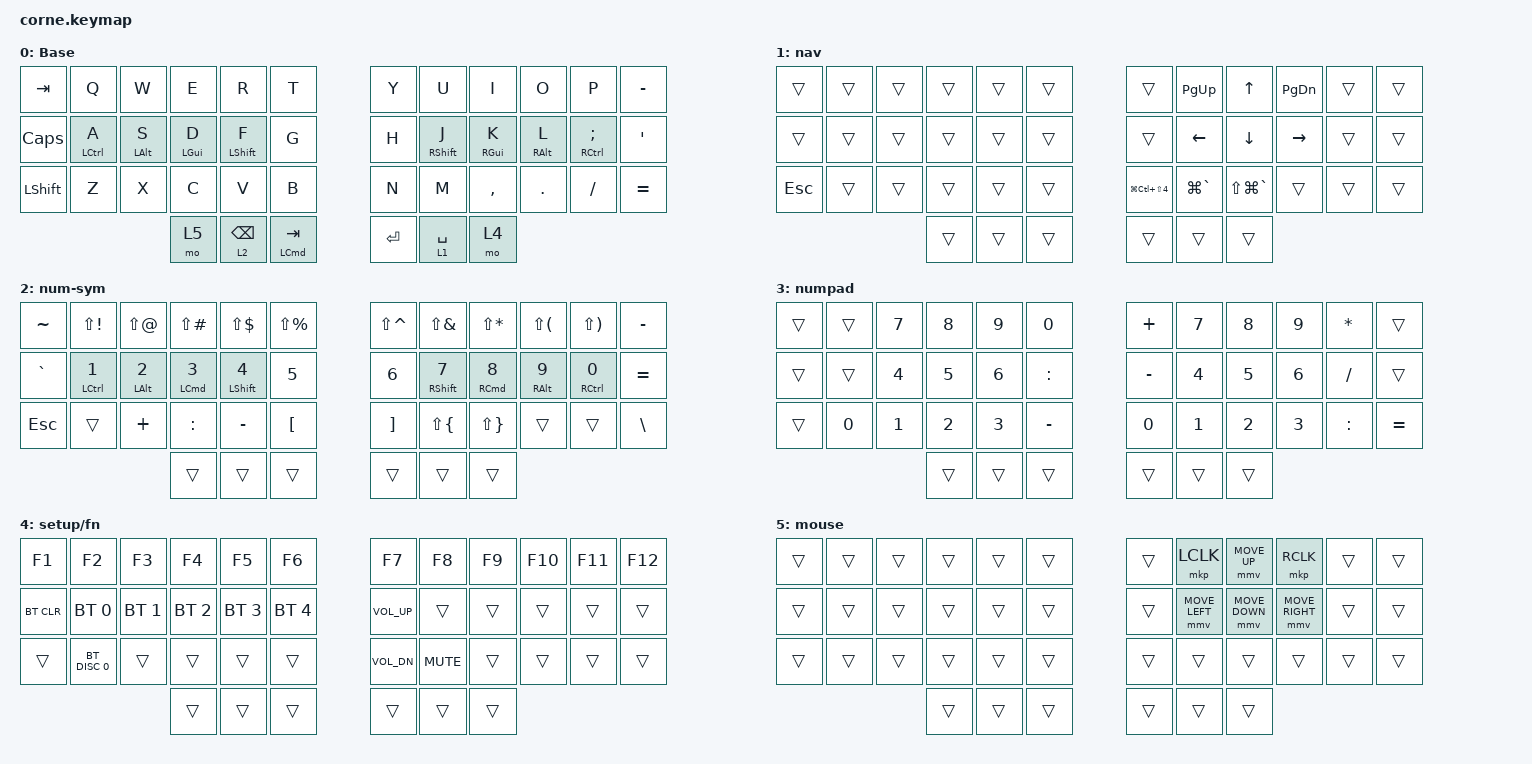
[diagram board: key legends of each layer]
/*
 * Copyright (c) 2020 The ZMK Contributors
 *
 * SPDX-License-Identifier: MIT
 */

#include <behaviors.dtsi>
#include <dt-bindings/zmk/bt.h>
#include <dt-bindings/zmk/keys.h>
#include <dt-bindings/zmk/pointing.h>

/ {
    behaviors {
        HRR250: HRR250 {
            compatible = "zmk,behavior-hold-tap";
            label = "HRR250";
            bindings = <&kp>, <&kp>;

            #binding-cells = <2>;
            tapping-term-ms = <250>;
            quick-tap-ms = <175>;
            flavor = "balanced";
            hold-trigger-key-positions = <0 1 2 3 4 5 12 13 14 15 16 17 24 25 26 27 28 29 36 37 38 39 40 41>;
            hold-trigger-on-release;
        };

        HRL250: HRL250 {
            compatible = "zmk,behavior-hold-tap";
            label = "HRL250";
            bindings = <&kp>, <&kp>;

            #binding-cells = <2>;
            tapping-term-ms = <250>;
            quick-tap-ms = <175>;
            flavor = "balanced";
            hold-trigger-on-release;
            hold-trigger-key-positions = <6 7 8 9 10 11 18 19 20 21 22 23 30 31 32 33 34 35 39 40 41 36 37 38>;
        };

        HRR100: HRR100 {
            compatible = "zmk,behavior-hold-tap";
            label = "HRR100";
            bindings = <&kp>, <&kp>;

            #binding-cells = <2>;
            tapping-term-ms = <100>;
            quick-tap-ms = <50>;
            flavor = "tap-preferred";
            hold-trigger-key-positions = <0 1 2 3 4 5 12 13 14 15 16 17 24 25 26 27 28 29 36 37 38 39 40 41>;
            hold-trigger-on-release;
        };

        HRL100: HRL100 {
            compatible = "zmk,behavior-hold-tap";
            label = "HRL100";
            bindings = <&kp>, <&kp>;

            #binding-cells = <2>;
            tapping-term-ms = <100>;
            quick-tap-ms = <50>;
            flavor = "balanced";
            hold-trigger-on-release;
            hold-trigger-key-positions = <6 7 8 9 10 11 18 19 20 21 22 23 30 31 32 33 34 35 39 40 41 36 37 38>;
        };

        hrr150: hrr150 {
            compatible = "zmk,behavior-hold-tap";
            label = "HRR150";
            bindings = <&kp>, <&kp>;

            #binding-cells = <2>;
            tapping-term-ms = <150>;
            quick-tap-ms = <98>;
            flavor = "balanced";
            hold-trigger-key-positions = <0 1 2 3 4 5 12 13 14 15 16 17 24 25 26 27 28 29 36 37 38 39 40 41>;
            hold-trigger-on-release;
        };

        HRL150: HRL150 {
            compatible = "zmk,behavior-hold-tap";
            label = "HRL150";
            bindings = <&kp>, <&kp>;

            #binding-cells = <2>;
            tapping-term-ms = <150>;
            quick-tap-ms = <100>;
            flavor = "balanced";
            hold-trigger-on-release;
            hold-trigger-key-positions = <6 7 8 9 10 11 18 19 20 21 22 23 30 31 32 33 34 35 39 40 41 36 37 38>;
        };

        lt150: lt150 {
            compatible = "zmk,behavior-hold-tap";
            label = "LT150";
            bindings = <&mo>, <&kp>;

            #binding-cells = <2>;
            tapping-term-ms = <150>;
            quick-tap-ms = <100>;
            flavor = "balanced";
            hold-trigger-on-release;
            hold-trigger-key-positions = <6 7 8 9 10 11 18 19 20 21 22 23 30 31 32 33 34 35 39 40 41 36 37 38>;
        };
    };

    macros {
        perplexity_vc_search: perplexity_vc_search {
            compatible = "zmk,behavior-macro";
            #binding-cells = <0>;
            bindings = <&none &kp W &kp O &kp U &kp L &kp D &kp SPACE &kp LS(X) &kp LS(X) &kp LS(X) &kp SPACE &kp B &kp E &kp SPACE &kp A &kp SPACE &kp G &kp O &kp O &kp D &kp SPACE &kp F &kp I &kp T &kp SPACE &kp G &kp I &kp V &kp E &kp N &kp SPACE &kp T &kp H &kp E &kp SPACE &kp I &kp N &kp V &kp E &kp S &kp T &kp O &kp R &kp SPACE &kp S &kp E &kp A &kp R &kp C &kp H &kp SPACE &kp C &kp R &kp I &kp T &kp E &kp R &kp I &kp A>;
            label = "PERPLEXITY_VC_SEARCH";
        };
    };

    combos {
        compatible = "zmk,combos";

        combo_lockscreen {
            bindings = <&kp LC(LG(Q))>;
            key-positions = <15 16 19 20>;
        };
    };

    keymap {
        compatible = "zmk,keymap";

        base {
            // -----------------------------------------------------------------------------------------
            // |  TAB |  Q  |  W  |  E  |  R  |  T  |   |  Y  |  U   |  I  |  O  |  P  | BKSP |
            // | CTRL |  A  |  S  |  D  |  F  |  G  |   |  H  |  J   |  K  |  L  |  ;  |  '   |
            // | SHFT |  Z  |  X  |  C  |  V  |  B  |   |  N  |  M   |  ,  |  .  |  /  | ESC  |
            //                    | GUI | LWR | SPC |   | ENT | RSE  | ALT |

            display-name = "Base";
            bindings = <
&kp TAB         &kp Q                   &kp W           &kp E               &kp R                 &kp T                   &kp Y    &kp U                  &kp I                &kp O                &kp P                            &kp MINUS
&kp CAPS        &HRL250 LEFT_CONTROL A  &HRL250 LALT S  &HRL150 LEFT_GUI D  &HRL150 LEFT_SHIFT F  &kp G                   &kp H    &hrr150 RIGHT_SHIFT J  &hrr150 RIGHT_GUI K  &HRR250 RIGHT_ALT L  &HRR250 RIGHT_CONTROL SEMICOLON  &kp SQT
&kp LEFT_SHIFT  &kp Z                   &kp X           &kp C               &kp V                 &kp B                   &kp N    &kp M                  &kp COMMA            &kp DOT              &kp FSLH                         &kp EQUAL
                                                        &mo 5               &lt150 2 BACKSPACE    &mt LEFT_COMMAND TAB    &kp RET  &lt 1 SPACE            &mo 4
            >;
        };

        nav {
            bindings = <
&trans      &trans  &trans  &trans  &trans  &trans    &trans                    &kp PG_UP      &kp UP             &kp PG_DN  &trans  &trans
&trans      &trans  &trans  &trans  &trans  &trans    &trans                    &kp LEFT       &kp DOWN           &kp RIGHT  &trans  &trans
&kp ESCAPE  &trans  &trans  &trans  &trans  &trans    &kp LG(LC(LS(NUMBER_4)))  &kp LG(GRAVE)  &kp LS(LG(GRAVE))  &trans     &trans  &trans
                            &trans  &trans  &trans    &trans                    &trans         &trans
            >;

            label = "nav";
        };

        num-sym {
            bindings = <
&kp TILDE   &kp LS(EXCL)                   &kp LS(AT)                 &kp LS(POUND)                  &kp LS(DLLR)                 &kp LS(PRCNT)    &kp LS(CARET)  &kp LS(AMPS)                  &kp LS(STAR)                    &kp LS(LPAR)          &kp LS(RPAR)              &kp MINUS
&kp GRAVE   &HRL250 LEFT_CONTROL NUMBER_1  &HRL250 LEFT_ALT NUMBER_2  &HRL150 LEFT_COMMAND NUMBER_3  &HRL150 LEFT_SHIFT NUMBER_4  &kp N5           &kp N6         &hrr150 RIGHT_SHIFT NUMBER_7  &hrr150 RIGHT_COMMAND NUMBER_8  &HRR250 RIGHT_ALT N9  &HRR250 RIGHT_CONTROL N0  &kp EQUAL
&kp ESCAPE  &trans                         &kp PLUS                   &kp COLON                      &kp MINUS                    &kp LBKT         &kp RBKT       &kp LS(LBRC)                  &kp LS(RBRC)                    &trans                &trans                    &kp BSLH
                                                                      &trans                         &trans                       &trans           &trans         &trans                        &trans
            >;

            label = "num-sym";
        };

        numpad {
            bindings = <
&trans  &trans  &kp N7  &kp N8  &kp N9  &kp N0       &kp PLUS   &kp N7  &kp N8  &kp N9  &kp ASTRK  &trans
&trans  &trans  &kp N4  &kp N5  &kp N6  &kp COLON    &kp MINUS  &kp N4  &kp N5  &kp N6  &kp SLASH  &trans
&trans  &kp N0  &kp N1  &kp N2  &kp N3  &kp MINUS    &kp N0     &kp N1  &kp N2  &kp N3  &kp COLON  &kp EQUAL
                        &trans  &trans  &trans       &trans     &trans  &trans
            >;

            label = "numpad";
        };

        setup {
            bindings = <
&kp F1      &kp F2         &kp F3        &kp F4        &kp F5        &kp F6          &kp F7           &kp F8      &kp F9  &kp F10  &kp F11  &kp F12
&bt BT_CLR  &bt BT_SEL 0   &bt BT_SEL 1  &bt BT_SEL 2  &bt BT_SEL 3  &bt BT_SEL 4    &kp C_VOLUME_UP  &trans      &trans  &trans   &trans   &trans
&trans      &bt BT_DISC 0  &trans        &trans        &trans        &trans          &kp C_VOL_DN     &kp K_MUTE  &trans  &trans   &trans   &trans
                                         &trans        &trans        &trans          &trans           &trans      &trans
            >;

            label = "setup/fn";
        };

        mouse {
            bindings = <
&trans  &trans  &trans  &trans  &trans  &trans    &trans  &mkp LCLK       &mmv MOVE_UP    &mkp RCLK        &trans  &trans
&trans  &trans  &trans  &trans  &trans  &trans    &trans  &mmv MOVE_LEFT  &mmv MOVE_DOWN  &mmv MOVE_RIGHT  &trans  &trans
&trans  &trans  &trans  &trans  &trans  &trans    &trans  &trans          &trans          &trans           &trans  &trans
                        &trans  &trans  &trans    &trans  &trans          &trans
            >;
        };
    };

    conditional_layers {
        compatible = "zmk,conditional-layers";

        setup_if_both {
            if-layers = <1 2>;
            then-layer = <3>;
        };
    };
};
